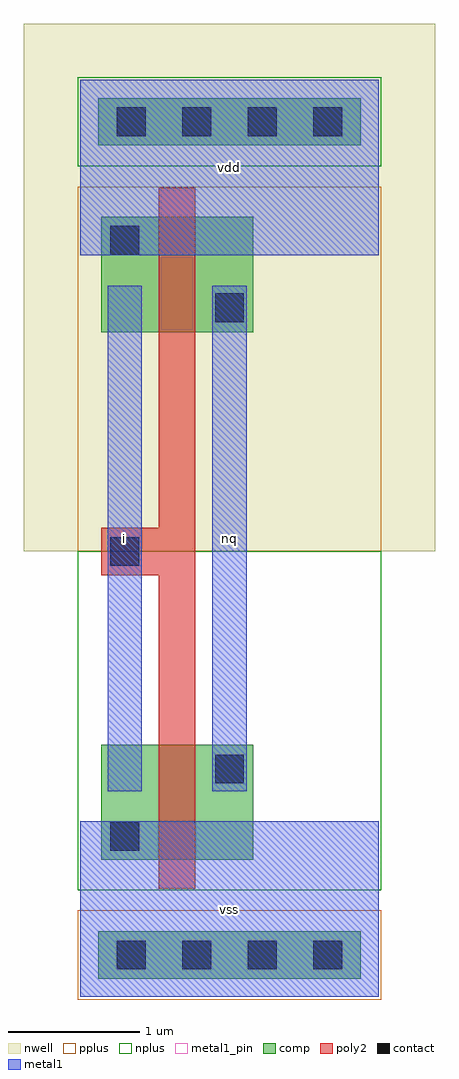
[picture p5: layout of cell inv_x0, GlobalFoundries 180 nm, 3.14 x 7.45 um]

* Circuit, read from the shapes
.subckt inv_x0 i nq vdd vss
XM1 nq i vss vss nfet_03v3 w=0.88u l=0.28u
XM2 nq i vdd vdd pfet_03v3 w=0.88u l=0.28u
.ends

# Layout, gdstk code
import gdstk
lib = gdstk.Library(unit=1e-6, precision=1e-09)
def R(c, l, rs):  # rectangles x0, y0, x1, y1
    for r in rs: c.add(gdstk.rectangle(r[:2], r[2:], *l))
def A(c, l, x, y, w, h, nx, ny, dx, dy):  # array of equal rectangles
    R(c, l, [(x+i*dx, y+j*dy, x+i*dx+w, y+j*dy+h) for i in range(nx) for j in range(ny)])
def P(c, l, *ps):  # polygons
    for p in ps: c.add(gdstk.Polygon(p, *l))
nwell = (21, 0)
comp = (22, 0)
poly2 = (30, 0)
pplus = (31, 0)
nplus = (32, 0)
contact = (33, 0)
metal1 = (34, 0)
metal1_pin = (34, 10)

inv_x0 = lib.new_cell('inv_x0')
R(inv_x0, nwell, [(-0.43,3.4,2.71,7.43)])
R(inv_x0, comp, [(0.14,0.14,2.14,0.5), (0.16,1.045,1.32,1.925), (0.16,5.075,1.32,5.955), (0.14,6.5,2.14,6.86)])
P(inv_x0, poly2, [(0.6,0.825),(0.6,3.22),(0.16,3.22),(0.16,3.58),(0.6,3.58),(0.6,6.175),(0.88,6.175),(0.88,0.825)])
R(inv_x0, pplus, [(-0.02,-0.02,2.3,0.66), (-0.02,3.4,2.3,6.185)])
R(inv_x0, nplus, [(-0.02,0.815,2.3,3.4), (-0.02,6.34,2.3,7.02)])
A(inv_x0, contact, 0.28, 0.21, 0.22, 0.22, 4, 2, 0.5, 6.36)
R(inv_x0, contact, [(0.23,1.115,0.45,1.335), (1.03,1.63,1.25,1.85), (0.23,3.29,0.45,3.51), (1.03,5.15,1.25,5.37), (0.23,5.665,0.45,5.885)])
R(inv_x0, metal1, [(0,0,2.28,1.34), (0.21,1.57,0.47,5.43), (1.01,1.57,1.27,5.43), (0,5.66,2.28,7)])
R(inv_x0, metal1_pin, [(0,0,2.28,1.34), (0.21,1.57,0.47,5.43), (1.01,1.57,1.27,5.43), (0,5.66,2.28,7)])
inv_x0.add(gdstk.Label('vss', (1.14,0.67), layer=34, texttype=10))
inv_x0.add(gdstk.Label('vdd', (1.14,6.33), layer=34, texttype=10))
inv_x0.add(gdstk.Label('nq', (1.14,3.5), layer=34, texttype=10))
inv_x0.add(gdstk.Label('i', (0.34,3.5), layer=34, texttype=10))

lib.write_gds('inv_x0.gds')
